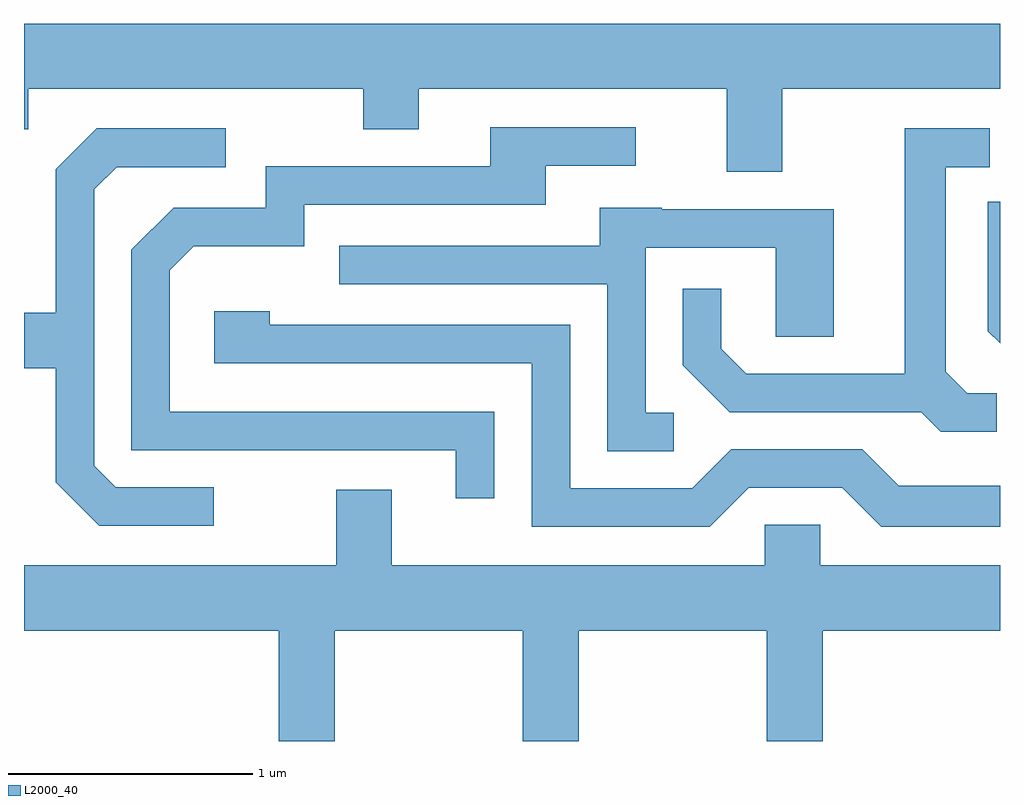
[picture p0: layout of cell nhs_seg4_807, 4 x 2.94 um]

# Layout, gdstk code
import gdstk
lib = gdstk.Library(unit=1e-6, precision=1e-09)
def P(c, l, *ps):  # polygons
    for p in ps: c.add(gdstk.Polygon(p, *l))
L2000_40 = (2000, 40)

nhs_seg4_807 = lib.new_cell('nhs_seg4_807')
P(nhs_seg4_807, L2000_40, [(210.719,1374.656),(211.611,1374.656),(211.611,1374.924),(207.611,1374.924),(207.611,1374.491),(207.629,1374.491),(207.629,1374.656),(209.001,1374.656),(209.001,1374.491),(209.229,1374.491),(209.229,1374.656),(210.491,1374.656),(210.491,1374.316),(210.719,1374.316)],
  [(209.539,1373.334),(208.209,1373.334),(208.209,1373.914),(208.307,1374.011),(208.759,1374.011),(208.759,1374.181),(209.749,1374.181),(209.749,1374.341),(210.118,1374.341),(210.118,1374.499),(209.521,1374.499),(209.521,1374.339),(208.601,1374.339),(208.601,1374.169),(208.224,1374.169),(208.051,1373.997),(208.051,1373.176),(209.381,1373.176),(209.381,1372.978),(209.539,1372.978)],
  [(208.388,1373.024),(207.987,1373.024),(207.899,1373.112),(207.899,1374.244),(207.992,1374.336),(208.438,1374.336),(208.438,1374.494),(207.909,1374.494),(207.741,1374.327),(207.741,1373.739),(207.611,1373.739),(207.611,1373.511),(207.741,1373.511),(207.741,1373.044),(207.919,1372.866),(208.388,1372.866)],
  [(211.598,1373.409),(211.477,1373.409),(211.389,1373.497),(211.389,1374.336),(211.568,1374.336),(211.568,1374.494),(211.221,1374.494),(211.221,1373.489),(210.572,1373.489),(210.469,1373.592),(210.469,1373.838),(210.311,1373.838),(210.311,1373.524),(210.504,1373.331),(211.289,1373.331),(211.369,1373.251),(211.598,1373.251)],
  [(211.611,1374.193),(211.561,1374.193),(211.561,1373.664),(211.611,1373.614)],
  [(210.273,1373.329),(210.159,1373.329),(210.159,1374.006),(210.691,1374.006),(210.691,1373.641),(210.929,1373.641),(210.929,1374.164),(210.225,1374.164),(210.225,1374.169),(209.971,1374.169),(209.971,1374.014),(208.903,1374.014),(208.903,1373.856),(210.001,1373.856),(210.001,1373.171),(210.273,1373.171)],
  [(210.582,1373.021),(210.964,1373.021),(211.124,1372.861),(211.611,1372.861),(211.611,1373.029),(211.197,1373.029),(211.047,1373.179),(210.509,1373.179),(210.349,1373.019),(209.849,1373.019),(209.849,1373.689),(208.619,1373.689),(208.619,1373.744),(208.391,1373.744),(208.391,1373.531),(209.691,1373.531),(209.691,1372.861),(210.422,1372.861)],
  [(208.884,1372.436),(209.656,1372.436),(209.656,1371.982),(209.884,1371.982),(209.884,1372.436),(210.656,1372.436),(210.656,1371.982),(210.884,1371.982),(210.884,1372.436),(211.611,1372.436),(211.611,1372.704),(210.874,1372.704),(210.874,1372.869),(210.646,1372.869),(210.646,1372.704),(209.119,1372.704),(209.119,1373.014),(208.891,1373.014),(208.891,1372.704),(207.611,1372.704),(207.611,1372.436),(208.656,1372.436),(208.656,1371.982),(208.884,1371.982)])

lib.write_gds('nhs_seg4_807.gds')
